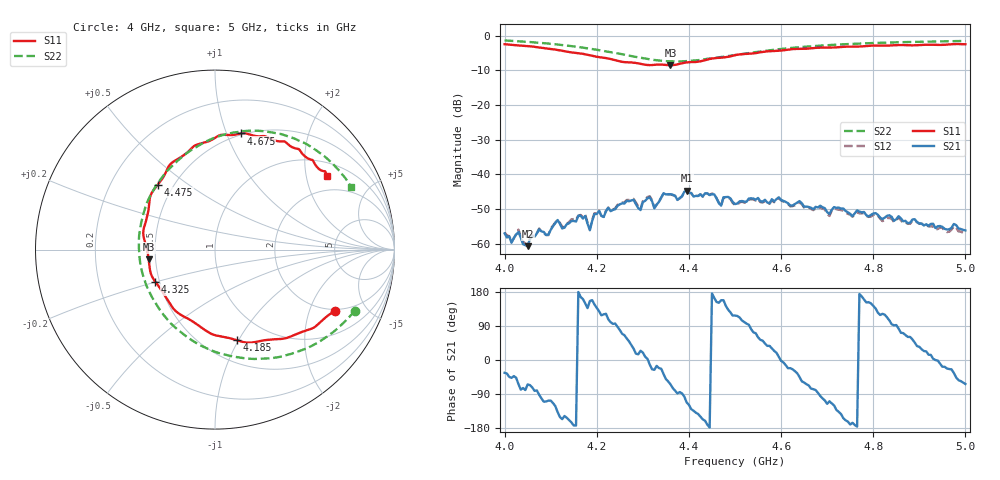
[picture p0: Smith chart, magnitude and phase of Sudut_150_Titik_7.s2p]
# Hz S RI R 50
! CMT, C1220, 16058040, 17.2.0/1
! Date: 15/08/2018 12:02:40
! Data: Format (Calibration Info)
! Freq  S11: Re/Im (F2)  S21: Re/Im (F2)  S12: Re/Im (F2)  S22: Re/Im (F2)
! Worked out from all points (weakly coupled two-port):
!   201 points, 4 GHz to 5 GHz, reference 50 ohm
!   highest |S21| = -44.77 dB at 4.395 GHz (marker M1); lowest = -60.7 dB at 4.05 GHz (marker M2)
!   lowest |S11| = -8.6 dB at 4.36 GHz (marker M3), VSWR 2.19, Z = 22.9 - j2.86 ohm
!   |S11| at or under -10 dB: nowhere
!   |S22| runs from -7.5 to -1.4 dB; largest |S21 - S12| = 0.00023
!   S11 on the Smith chart (normalised r, x): 4 GHz: 1.92, -2.99; 4.185 GHz: 0.71, -0.98; 4.325 GHz: 0.47, -0.20; 4.475 GHz: 0.41, +0.39; 4.675 GHz: 0.49, +1.12; 5 GHz: 1.41, +2.65
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4e9  0.666 -0.3418  0.00116 -0.000782  0.00124 -0.000743  0.7773 -0.3404
4.015e9  0.6386 -0.3609  0.000699 -0.000754  0.000797 -0.000705  0.7495 -0.3739
4.03e9  0.6053 -0.3878  0.000657 -0.00131  0.00074 -0.00141  0.7191 -0.4051
4.05e9  0.5601 -0.4284  0.000394 -0.000829  0.000372 -0.000858  0.6742 -0.4467
4.115e9  0.3677 -0.498  -0.00161 -0.00148  -0.00157 -0.00153  0.4866 -0.5593
4.17e9  0.1693 -0.5176  -0.00216 0.00076  -0.00227 0.000792  0.2816 -0.6068
4.185e9  0.1205 -0.5045  -0.00142 0.000643  -0.00145 0.000702  0.2182 -0.6094
4.195e9  0.083 -0.4936  -0.00221 0.00146  -0.00228 0.00152  0.1751 -0.6059
4.265e9  -0.1711 -0.3745  0.00226 0.00346  0.00226 0.00361  -0.1292 -0.505
4.295e9  -0.2545 -0.2956  0.00277 0.00126  0.00288 0.0013  -0.2481 -0.4097
4.315e9  -0.3056 -0.2162  0.00453 -0.000978  0.00469 -0.00111  -0.3109 -0.3303
4.325e9  -0.3321 -0.1804  0.0029 -0.0014  0.00292 -0.00155  -0.3374 -0.2879
4.335e9  -0.3522 -0.1471  0.00373 -0.00145  0.00367 -0.00156  -0.3626 -0.2423
4.36e9  -0.3697 -0.0537  0.00223 -0.00464  0.00215 -0.00467  -0.4079 -0.1191
4.395e9  -0.3997 0.0889  -0.00214 -0.00536  -0.00217 -0.0053  -0.424 0.0554
4.475e9  -0.3181 0.3622  -0.00431 0.00176  -0.00417 0.00192  -0.3027 0.3918
4.5e9  -0.266 0.4472  -0.00171 0.0033  -0.00162 0.00322  -0.2388 0.4668
4.595e9  -0.046 0.6002  0.0046 0.000694  0.0045 0.000659  0.0295 0.6344
4.67e9  0.1331 0.6447  0.000707 -0.00307  0.000662 -0.00297  0.2368 0.6623
4.675e9  0.1433 0.6472  0.000626 -0.00333  0.000601 -0.00315  0.2495 0.6615
4.835e9  0.4371 0.5676  -0.000644 0.00248  -0.000628 0.00226  0.5728 0.5472
5e9  0.6241 0.4128  0.000698 -0.00138  0.000686 -0.00123  0.758 0.3509
